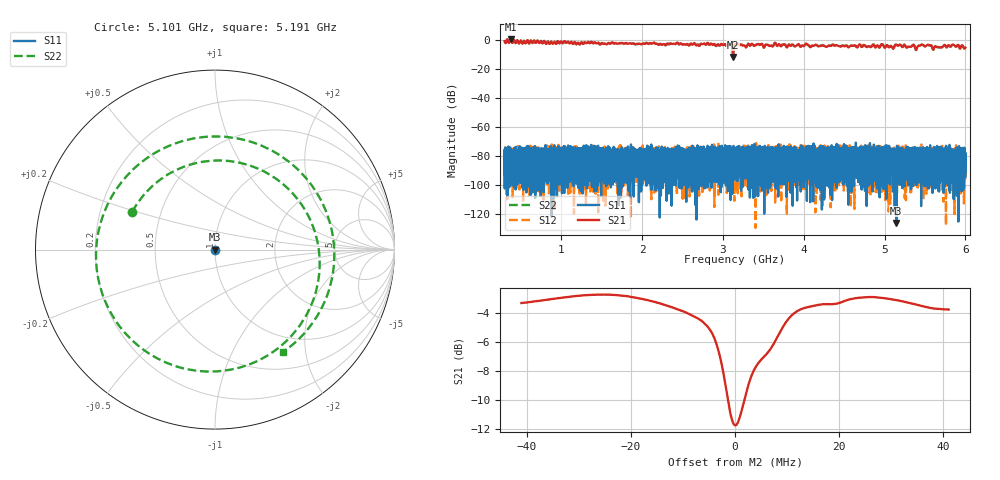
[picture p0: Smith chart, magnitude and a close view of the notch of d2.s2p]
!Agilent Technologies,N5230C,SG49000117,A.08.50.07
!Agilent N5230C: A.08.50.07
!Date: Sunday, March 17, 2024 02:35:07
!Correction: S11(Off)
!S21(Off)
!S12(Off)
!S22(Off)
!S2P File: Measurements: S11, S21, S12, S22:
# Hz S  RI  R 50
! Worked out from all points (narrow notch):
!   20001 points, 300 MHz to 6 GHz, reference 50 ohm
!   highest |S21| = 0.48 dB at 374.7 MHz (marker M1); lowest = -11.8 dB at 3.126 GHz (marker M2)
!   notch at M2: 8.5 dB deep, 6.86 MHz wide at half that depth
!   lowest |S11| = -126.2 dB at 5.146 GHz (marker M3), VSWR 1.00, Z = 50 + j3.95e-05 ohm
!   |S11| at or under -10 dB: start of sweep to end of sweep
!   |S22| runs from -11.8 to 0.5 dB; largest |S21 - S12| = 1.1
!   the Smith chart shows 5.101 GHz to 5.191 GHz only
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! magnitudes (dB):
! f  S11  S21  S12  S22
! 300 MHz  -83.1  -0.9  -92.7  -0.8
! 374.7 MHz  -90.4  0.5  -76.6  0.5
! 1.25 GHz  -82.6  -1.7  -81.7  -1.7
! 2.2 GHz  -88.5  -3.4  -78.5  -3.4
! 2.831 GHz  -90.0  -3.4  -100.4  -3.3
! 3.086 GHz  -77.8  -3.2  -83.4  -3.2
! 3.126 GHz  -83.5  -11.8  -76.0  -11.8
! 3.15 GHz  -80.5  -2.9  -81.0  -2.9
! 3.169 GHz  -80.1  -3.7  -79.3  -3.7
! 3.272 GHz  -82.4  -4.2  -89.4  -4.1
! 3.459 GHz  -89.1  -3.4  -87.1  -3.4
! 3.978 GHz  -81.4  -4.0  -85.1  -3.9
! 4.038 GHz  -82.7  -2.9  -89.7  -2.8
! 4.1 GHz  -79.3  -4.3  -84.0  -4.2
! 5.05 GHz  -91.0  -5.0  -88.4  -5.0
! 5.146 GHz  -126.2  -3.4  -88.9  -3.4
! 5.399 GHz  -83.4  -6.1  -79.5  -6.1
! 5.447 GHz  -93.2  -3.7  -84.5  -3.7
! 5.551 GHz  -78.4  -3.8  -81.5  -3.8
! 5.616 GHz  -85.1  -5.0  -87.0  -5.1
! 5.849 GHz  -81.8  -3.3  -81.8  -3.3
! 6 GHz  -80.2  -5.4  -87.6  -5.5
